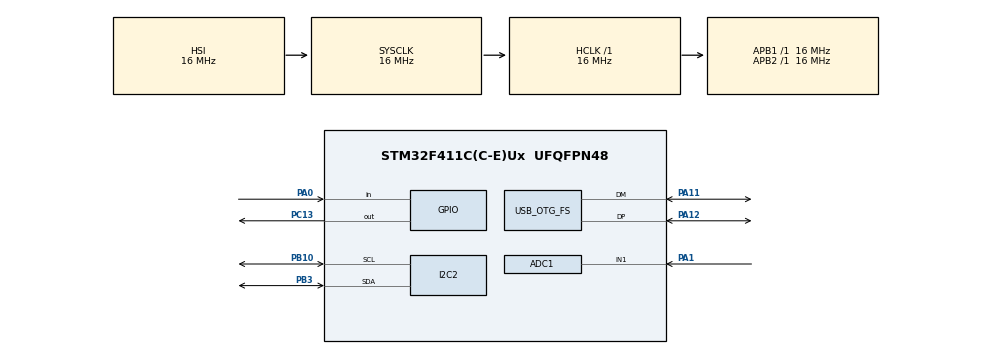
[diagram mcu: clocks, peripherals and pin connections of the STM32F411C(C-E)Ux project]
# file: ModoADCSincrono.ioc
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ADC1.Channel-0\#ChannelRegularConversion=ADC_CHANNEL_1
ADC1.ClockPrescaler=ADC_CLOCK_SYNC_PCLK_DIV4
ADC1.ContinuousConvMode=DISABLE
ADC1.NbrOfConversionFlag=1
ADC1.Rank-0\#ChannelRegularConversion=1
ADC1.SamplingTime-0\#ChannelRegularConversion=ADC_SAMPLETIME_3CYCLES
ADC1.master=1
Mcu.Family=STM32F4
Mcu.Name=STM32F411C(C-E)Ux
Mcu.Package=UFQFPN48
NVIC.OTG_FS_IRQn=true\:0\:0\:false\:false\:true\:false\:true\:true
NVIC.PriorityGroup=NVIC_PRIORITYGROUP_4
PA0-WKUP.GPIO_PuPd=GPIO_PULLUP
PA0-WKUP.Signal=GPIO_Input
PA1.Signal=ADCx_IN1
PA11.Mode=Device_Only
PA11.Signal=USB_OTG_FS_DM
PA12.Mode=Device_Only
PA12.Signal=USB_OTG_FS_DP
PA13.Mode=Serial_Wire
PA13.Signal=SYS_JTMS-SWDIO
PA14.Mode=Serial_Wire
PA14.Signal=SYS_JTCK-SWCLK
PB10.GPIO_Pu=GPIO_PULLUP
PB10.Mode=I2C
PB10.Signal=I2C2_SCL
PB3.GPIO_Pu=GPIO_PULLUP
PB3.Mode=I2C
PB3.Signal=I2C2_SDA
PC13-ANTI_TAMP.GPIO_PuPd=GPIO_PULLUP
PC13-ANTI_TAMP.Signal=GPIO_Output
PC14-OSC32_IN.Mode=LSE-External-Oscillator
PC14-OSC32_IN.Signal=RCC_OSC32_IN
PC15-OSC32_OUT.Mode=LSE-External-Oscillator
PC15-OSC32_OUT.Signal=RCC_OSC32_OUT
PH0\ -\ OSC_IN.Mode=HSE-External-Oscillator
PH0\ -\ OSC_IN.Signal=RCC_OSC_IN
PH1\ -\ OSC_OUT.Mode=HSE-External-Oscillator
PH1\ -\ OSC_OUT.Signal=RCC_OSC_OUT
ProjectManager.HeapSize=0x200
ProjectManager.StackSize=0x400
ProjectManager.TargetToolchain=STM32CubeIDE
RCC.48MHZClocksFreq_Value=48000000
RCC.AHBFreq_Value=16000000
RCC.APB1Freq_Value=16000000
RCC.APB2Freq_Value=16000000
RCC.CortexFreq_Value=16000000
RCC.HSE_VALUE=25000000
RCC.HSI_VALUE=16000000
RCC.PLLM=15
RCC.PLLN=144
RCC.PLLP=RCC_PLLP_DIV4
RCC.PLLQ=5
RCC.SYSCLKFreq_VALUE=16000000
RCC.VCOOutputFreq_Value=240000000
SH.ADCx_IN1.0=ADC1_IN1,IN1
USB_DEVICE.CLASS_NAME_FS=CDC
USB_DEVICE.VirtualMode=Cdc
USB_DEVICE.VirtualModeFS=Cdc_FS
USB_OTG_FS.VirtualMode=Device_Only
VP_USB_DEVICE_VS_USB_DEVICE_CDC_FS.Mode=CDC_FS
board=custom

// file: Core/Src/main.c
/* USER CODE BEGIN Header */
/**
 ******************************************************************************
 * @file           : main.c
 * @brief          : Main program body
 ******************************************************************************
 * @attention
 *
 * Copyright (c) 2024 STMicroelectronics.
 * All rights reserved.
 *
 * This software is licensed under terms that can be found in the LICENSE file
 * in the root directory of this software component.
 * If no LICENSE file comes with this software, it is provided AS-IS.
 *
 ******************************************************************************
 */
/* USER CODE END Header */
#include "main.h"
#include "usb_device.h"

/* USER CODE BEGIN PD */
#define ADCRES 12
#define MIDSCALE 1861
#define FULLSCALE 4095
/* USER CODE END PD */

ADC_HandleTypeDef hadc1;

I2C_HandleTypeDef hi2c2;

/* USER CODE BEGIN PV */
int adcValue;
double volts;
char buffer[32];
uint8_t bufmid[2];
uint8_t buffull[2];
GPIO_PinState pinState;
/* USER CODE END PV */

void SystemClock_Config(void);
static void MX_GPIO_Init(void);
static void MX_ADC1_Init(void);
static void MX_I2C2_Init(void);
/* USER CODE BEGIN PFP */
uint32_t readADCValue(void);
extern uint8_t CDC_Transmit_FS(uint8_t *Buf, uint16_t Len);
double count2volt(int res, int count);
/* USER CODE END PFP */

int main(void)
{

  /* MCU Configuration--------------------------------------------------------*/

  /* Reset of all peripherals, Initializes the Flash interface and the Systick. */
  HAL_Init();

  /* USER CODE BEGIN Init */
  HAL_StatusTypeDef RET;

  /* USER CODE END Init */

  /* Configure the system clock */
  SystemClock_Config();

  /* Initialize all configured peripherals */
  MX_GPIO_Init();
  MX_ADC1_Init();
  MX_I2C2_Init();
  MX_USB_DEVICE_Init();

  /* Infinite loop */
  /* USER CODE BEGIN WHILE */

	bufmid[0] = MIDSCALE >> 8;
	bufmid[1] = MIDSCALE;
	buffull[0] = FULLSCALE >> 8;
	buffull[1] = FULLSCALE;

	while (1) {

		pinState = HAL_GPIO_ReadPin(GPIOA, GPIO_PIN_0);

		if (!pinState) {
			RET = HAL_I2C_Master_Transmit(&hi2c2, (0x60 << 1), bufmid, 2, 10);
			if (RET == HAL_OK) {
				adcValue = readADCValue();
			}
			else {
				adcValue = 0.0;
			}
		}
		else {
			RET = HAL_I2C_Master_Transmit(&hi2c2, (0x60 << 1), buffull, 2, 10);
			if (RET == HAL_OK) {
				adcValue = readADCValue();
			}
			else {
				adcValue = 0.0;
			}
		}

		volts = count2volt(ADCRES, adcValue);

		sprintf(buffer, "Counts: %d --- Volts: %.2f\r", adcValue, volts);
		CDC_Transmit_FS(buffer, sizeof(buffer));

		HAL_Delay(500);

		HAL_GPIO_TogglePin(GPIOC, GPIO_PIN_13);

    /* USER CODE END WHILE */

	}
}

void SystemClock_Config(void)
{
  RCC_OscInitTypeDef RCC_OscInitStruct = {0};
  RCC_ClkInitTypeDef RCC_ClkInitStruct = {0};

  /** Configure the main internal regulator output voltage
  */
  __HAL_RCC_PWR_CLK_ENABLE();
  __HAL_PWR_VOLTAGESCALING_CONFIG(PWR_REGULATOR_VOLTAGE_SCALE1);

  /** Initializes the RCC Oscillators according to the specified parameters
  * in the RCC_OscInitTypeDef structure.
  */
  RCC_OscInitStruct.OscillatorType = RCC_OSCILLATORTYPE_HSI|RCC_OSCILLATORTYPE_HSE;
  RCC_OscInitStruct.HSEState = RCC_HSE_ON;
  RCC_OscInitStruct.HSIState = RCC_HSI_ON;
  RCC_OscInitStruct.HSICalibrationValue = RCC_HSICALIBRATION_DEFAULT;
  RCC_OscInitStruct.PLL.PLLState = RCC_PLL_ON;
  RCC_OscInitStruct.PLL.PLLSource = RCC_PLLSOURCE_HSE;
  RCC_OscInitStruct.PLL.PLLM = 15;
  RCC_OscInitStruct.PLL.PLLN = 144;
  RCC_OscInitStruct.PLL.PLLP = RCC_PLLP_DIV4;
  RCC_OscInitStruct.PLL.PLLQ = 5;
  if (HAL_RCC_OscConfig(&RCC_OscInitStruct) != HAL_OK)
  {
    Error_Handler();
  }

  /** Initializes the CPU, AHB and APB buses clocks
  */
  RCC_ClkInitStruct.ClockType = RCC_CLOCKTYPE_HCLK|RCC_CLOCKTYPE_SYSCLK
                              |RCC_CLOCKTYPE_PCLK1|RCC_CLOCKTYPE_PCLK2;
  RCC_ClkInitStruct.SYSCLKSource = RCC_SYSCLKSOURCE_HSI;
  RCC_ClkInitStruct.AHBCLKDivider = RCC_SYSCLK_DIV1;
  RCC_ClkInitStruct.APB1CLKDivider = RCC_HCLK_DIV1;
  RCC_ClkInitStruct.APB2CLKDivider = RCC_HCLK_DIV1;

  if (HAL_RCC_ClockConfig(&RCC_ClkInitStruct, FLASH_LATENCY_0) != HAL_OK)
  {
    Error_Handler();
  }
}

static void MX_ADC1_Init(void)
{

  ADC_ChannelConfTypeDef sConfig = {0};

  /** Configure the global features of the ADC (Clock, Resolution, Data Alignment and number of conversion)
  */
  hadc1.Instance = ADC1;
  hadc1.Init.ClockPrescaler = ADC_CLOCK_SYNC_PCLK_DIV4;
  hadc1.Init.Resolution = ADC_RESOLUTION_12B;
  hadc1.Init.ScanConvMode = DISABLE;
  hadc1.Init.ContinuousConvMode = DISABLE;
  hadc1.Init.DiscontinuousConvMode = DISABLE;
  hadc1.Init.ExternalTrigConvEdge = ADC_EXTERNALTRIGCONVEDGE_NONE;
  hadc1.Init.ExternalTrigConv = ADC_SOFTWARE_START;
  hadc1.Init.DataAlign = ADC_DATAALIGN_RIGHT;
  hadc1.Init.NbrOfConversion = 1;
  hadc1.Init.DMAContinuousRequests = DISABLE;
  hadc1.Init.EOCSelection = ADC_EOC_SINGLE_CONV;
  if (HAL_ADC_Init(&hadc1) != HAL_OK)
  {
    Error_Handler();
  }

  /** Configure for the selected ADC regular channel its corresponding rank in the sequencer and its sample time.
  */
  sConfig.Channel = ADC_CHANNEL_1;
  sConfig.Rank = 1;
  sConfig.SamplingTime = ADC_SAMPLETIME_3CYCLES;
  if (HAL_ADC_ConfigChannel(&hadc1, &sConfig) != HAL_OK)
  {
    Error_Handler();
  }

}

static void MX_I2C2_Init(void)
{

  hi2c2.Instance = I2C2;
  hi2c2.Init.ClockSpeed = 100000;
  hi2c2.Init.DutyCycle = I2C_DUTYCYCLE_2;
  hi2c2.Init.OwnAddress1 = 0;
  hi2c2.Init.AddressingMode = I2C_ADDRESSINGMODE_7BIT;
  hi2c2.Init.DualAddressMode = I2C_DUALADDRESS_DISABLE;
  hi2c2.Init.OwnAddress2 = 0;
  hi2c2.Init.GeneralCallMode = I2C_GENERALCALL_DISABLE;
  hi2c2.Init.NoStretchMode = I2C_NOSTRETCH_DISABLE;
  if (HAL_I2C_Init(&hi2c2) != HAL_OK)
  {
    Error_Handler();
  }

}

static void MX_GPIO_Init(void)
{
  GPIO_InitTypeDef GPIO_InitStruct = {0};

  /* GPIO Ports Clock Enable */
  __HAL_RCC_GPIOC_CLK_ENABLE();
  __HAL_RCC_GPIOH_CLK_ENABLE();
  __HAL_RCC_GPIOA_CLK_ENABLE();
  __HAL_RCC_GPIOB_CLK_ENABLE();

  /*Configure GPIO pin Output Level */
  HAL_GPIO_WritePin(GPIOC, GPIO_PIN_13, GPIO_PIN_RESET);

  /*Configure GPIO pin : PC13 */
  GPIO_InitStruct.Pin = GPIO_PIN_13;
  GPIO_InitStruct.Mode = GPIO_MODE_OUTPUT_PP;
  GPIO_InitStruct.Pull = GPIO_PULLUP;
  GPIO_InitStruct.Speed = GPIO_SPEED_FREQ_LOW;
  HAL_GPIO_Init(GPIOC, &GPIO_InitStruct);

  /*Configure GPIO pin : PA0 */
  GPIO_InitStruct.Pin = GPIO_PIN_0;
  GPIO_InitStruct.Mode = GPIO_MODE_INPUT;
  GPIO_InitStruct.Pull = GPIO_PULLUP;
  HAL_GPIO_Init(GPIOA, &GPIO_InitStruct);

}

/* USER CODE BEGIN 4 */
// Função para iniciar a conversão e retornar o valor convertido
uint32_t readADCValue(void) {
	uint32_t adc_value = 0;

	// Inicia a conversão do ADC de forma síncrona
	if (HAL_ADC_Start(&hadc1) == HAL_OK) {
		// Espera até que a conversão seja concluída
		if (HAL_ADC_PollForConversion(&hadc1, 100) == HAL_OK) {
			// Obtém o valor convertido
			adc_value = HAL_ADC_GetValue(&hadc1);
		}
		// Stop ADC to save power and resources
		HAL_ADC_Stop(&hadc1);
	}

	return adc_value;
}
/* USER CODE END 4 */

void Error_Handler(void)
{
	__disable_irq();
	while (1) {
	}
}
